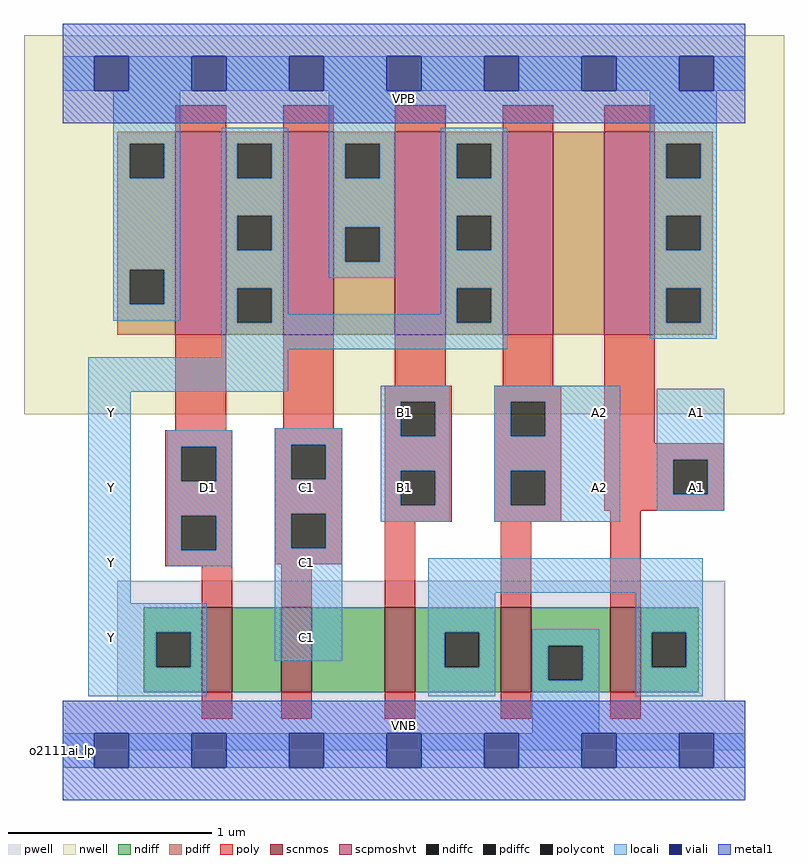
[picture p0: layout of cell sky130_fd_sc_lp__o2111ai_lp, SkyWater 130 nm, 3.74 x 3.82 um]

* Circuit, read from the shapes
.subckt sky130_fd_sc_lp__o2111ai_lp A1 A2 B1 C1 D1 VGND VNB VPB VPWR Y
XM1 n1 D1 Y VNB sky130_fd_pr__nfet_01v8 w=0.42 l=0.15
XM2 n2 C1 n1 VNB sky130_fd_pr__nfet_01v8 w=0.42 l=0.15
XM3 n3 B1 n2 VNB sky130_fd_pr__nfet_01v8 w=0.42 l=0.15
XM4 VGND A2 n3 VNB sky130_fd_pr__nfet_01v8 w=0.42 l=0.15
XM5 n3 A1 VGND VNB sky130_fd_pr__nfet_01v8 w=0.42 l=0.15
XM6 Y D1 VPWR VPB sky130_fd_pr__pfet_01v8_hvt w=1 l=0.25
XM7 VPWR C1 Y VPB sky130_fd_pr__pfet_01v8_hvt w=1 l=0.25
XM8 Y B1 VPWR VPB sky130_fd_pr__pfet_01v8_hvt w=1 l=0.25
XM9 n4 A2 Y VPB sky130_fd_pr__pfet_01v8_hvt w=1 l=0.25
XM10 VPWR A1 n4 VPB sky130_fd_pr__pfet_01v8_hvt w=1 l=0.25
.ends

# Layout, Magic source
magic
tech sky130A
magscale 1 2
<< nwell >>
rect -38 331 710 704
<< pwell >>
rect 54 49 652 167
rect 0 0 672 49
<< scnmos >>
rect 137 57 167 141
rect 215 57 245 141
rect 317 57 347 141
rect 431 57 461 141
rect 539 57 569 141
<< scpmoshvt >>
rect 111 409 161 609
rect 217 409 267 609
rect 327 409 377 609
rect 433 409 483 609
rect 533 409 583 609
<< ndiff >>
rect 80 116 137 141
rect 80 82 92 116
rect 126 82 137 116
rect 80 57 137 82
rect 167 57 215 141
rect 245 57 317 141
rect 347 116 431 141
rect 347 82 376 116
rect 410 82 431 116
rect 347 57 431 82
rect 461 103 539 141
rect 461 69 478 103
rect 512 69 539 103
rect 461 57 539 69
rect 569 116 626 141
rect 569 82 580 116
rect 614 82 626 116
rect 569 57 626 82
<< pdiff >>
rect 54 597 111 609
rect 54 563 66 597
rect 100 563 111 597
rect 54 473 111 563
rect 54 439 66 473
rect 100 439 111 473
rect 54 409 111 439
rect 161 597 217 609
rect 161 563 172 597
rect 206 563 217 597
rect 161 526 217 563
rect 161 492 172 526
rect 206 492 217 526
rect 161 455 217 492
rect 161 421 172 455
rect 206 421 217 455
rect 161 409 217 421
rect 267 597 327 609
rect 267 563 278 597
rect 312 563 327 597
rect 267 515 327 563
rect 267 481 278 515
rect 312 481 327 515
rect 267 409 327 481
rect 377 597 433 609
rect 377 563 388 597
rect 422 563 433 597
rect 377 526 433 563
rect 377 492 388 526
rect 422 492 433 526
rect 377 455 433 492
rect 377 421 388 455
rect 422 421 433 455
rect 377 409 433 421
rect 483 409 533 609
rect 583 597 640 609
rect 583 563 594 597
rect 628 563 640 597
rect 583 526 640 563
rect 583 492 594 526
rect 628 492 640 526
rect 583 455 640 492
rect 583 421 594 455
rect 628 421 640 455
rect 583 409 640 421
<< ndiffc >>
rect 92 82 126 116
rect 376 82 410 116
rect 478 69 512 103
rect 580 82 614 116
<< pdiffc >>
rect 66 563 100 597
rect 66 439 100 473
rect 172 563 206 597
rect 172 492 206 526
rect 172 421 206 455
rect 278 563 312 597
rect 278 481 312 515
rect 388 563 422 597
rect 388 492 422 526
rect 388 421 422 455
rect 594 563 628 597
rect 594 492 628 526
rect 594 421 628 455
<< poly >>
rect 111 609 161 635
rect 217 609 267 635
rect 327 609 377 635
rect 433 609 483 635
rect 533 609 583 635
rect 111 315 161 409
rect 217 317 267 409
rect 327 359 377 409
rect 433 359 483 409
rect 317 343 383 359
rect 101 299 167 315
rect 101 265 117 299
rect 151 265 167 299
rect 101 231 167 265
rect 101 197 117 231
rect 151 197 167 231
rect 101 181 167 197
rect 209 301 275 317
rect 209 267 225 301
rect 259 267 275 301
rect 209 233 275 267
rect 209 199 225 233
rect 259 199 275 233
rect 209 183 275 199
rect 317 309 333 343
rect 367 309 383 343
rect 317 275 383 309
rect 317 241 333 275
rect 367 241 383 275
rect 317 225 383 241
rect 425 343 491 359
rect 425 309 441 343
rect 475 309 491 343
rect 425 275 491 309
rect 425 241 441 275
rect 475 241 491 275
rect 425 225 491 241
rect 533 302 583 409
rect 533 286 651 302
rect 533 252 601 286
rect 635 252 651 286
rect 533 236 651 252
rect 137 141 167 181
rect 215 141 245 183
rect 317 141 347 225
rect 431 141 461 225
rect 539 141 569 236
rect 137 31 167 57
rect 215 31 245 57
rect 317 31 347 57
rect 431 31 461 57
rect 539 31 569 57
<< polycont >>
rect 117 265 151 299
rect 117 197 151 231
rect 225 267 259 301
rect 225 199 259 233
rect 333 309 367 343
rect 333 241 367 275
rect 441 309 475 343
rect 441 241 475 275
rect 601 252 635 286
<< locali >>
rect 0 649 31 683
rect 65 649 127 683
rect 161 649 223 683
rect 257 649 319 683
rect 353 649 415 683
rect 449 649 511 683
rect 545 649 607 683
rect 641 649 672 683
rect 50 597 116 649
rect 50 563 66 597
rect 100 563 116 597
rect 50 473 116 563
rect 50 439 66 473
rect 100 439 116 473
rect 50 423 116 439
rect 156 597 222 613
rect 156 563 172 597
rect 206 563 222 597
rect 156 526 222 563
rect 156 492 172 526
rect 206 492 222 526
rect 156 455 222 492
rect 262 597 328 649
rect 262 563 278 597
rect 312 563 328 597
rect 262 515 328 563
rect 262 481 278 515
rect 312 481 328 515
rect 262 465 328 481
rect 372 597 438 613
rect 372 563 388 597
rect 422 563 438 597
rect 372 526 438 563
rect 372 492 388 526
rect 422 492 438 526
rect 156 421 172 455
rect 206 429 222 455
rect 372 455 438 492
rect 372 429 388 455
rect 206 421 388 429
rect 422 421 438 455
rect 156 395 438 421
rect 578 597 644 649
rect 578 563 594 597
rect 628 563 644 597
rect 578 526 644 563
rect 578 492 594 526
rect 628 492 644 526
rect 578 455 644 492
rect 578 421 594 455
rect 628 421 644 455
rect 578 405 644 421
rect 156 387 222 395
rect 25 353 222 387
rect 25 145 67 353
rect 313 343 381 359
rect 103 299 167 315
rect 103 265 117 299
rect 151 265 167 299
rect 103 231 167 265
rect 103 197 117 231
rect 151 197 167 231
rect 103 181 167 197
rect 209 301 275 317
rect 209 267 225 301
rect 259 267 275 301
rect 209 233 275 267
rect 209 199 225 233
rect 259 199 275 233
rect 313 309 333 343
rect 367 309 381 343
rect 313 275 381 309
rect 313 241 333 275
rect 367 241 381 275
rect 313 225 381 241
rect 425 343 549 359
rect 425 309 441 343
rect 475 309 549 343
rect 425 275 549 309
rect 425 241 441 275
rect 475 241 549 275
rect 425 225 549 241
rect 585 286 651 356
rect 585 252 601 286
rect 635 252 651 286
rect 585 236 651 252
rect 25 116 142 145
rect 25 82 92 116
rect 126 82 142 116
rect 209 88 275 199
rect 360 155 630 189
rect 360 116 426 155
rect 25 53 142 82
rect 360 82 376 116
rect 410 82 426 116
rect 360 53 426 82
rect 462 103 528 119
rect 462 69 478 103
rect 512 69 528 103
rect 462 17 528 69
rect 564 116 630 155
rect 564 82 580 116
rect 614 82 630 116
rect 564 53 630 82
rect 0 -17 31 17
rect 65 -17 127 17
rect 161 -17 223 17
rect 257 -17 319 17
rect 353 -17 415 17
rect 449 -17 511 17
rect 545 -17 607 17
rect 641 -17 672 17
<< viali >>
rect 31 649 65 683
rect 127 649 161 683
rect 223 649 257 683
rect 319 649 353 683
rect 415 649 449 683
rect 511 649 545 683
rect 607 649 641 683
rect 31 -17 65 17
rect 127 -17 161 17
rect 223 -17 257 17
rect 319 -17 353 17
rect 415 -17 449 17
rect 511 -17 545 17
rect 607 -17 641 17
<< metal1 >>
rect 0 683 672 715
rect 0 649 31 683
rect 65 649 127 683
rect 161 649 223 683
rect 257 649 319 683
rect 353 649 415 683
rect 449 649 511 683
rect 545 649 607 683
rect 641 649 672 683
rect 0 617 672 649
rect 0 17 672 49
rect 0 -17 31 17
rect 65 -17 127 17
rect 161 -17 223 17
rect 257 -17 319 17
rect 353 -17 415 17
rect 449 -17 511 17
rect 545 -17 607 17
rect 641 -17 672 17
rect 0 -49 672 -17
<< labels >>
flabel pwell s 0 0 672 49 0 FreeSans 200 0 0 0 VNB
port 7 nsew ground bidirectional
flabel nwell s 0 617 672 666 0 FreeSans 200 0 0 0 VPB
port 8 nsew power bidirectional
rlabel comment s 0 0 0 0 4 o2111ai_lp
flabel metal1 s 0 617 672 666 0 FreeSans 340 0 0 0 VPWR
port 9 nsew power bidirectional
flabel metal1 s 0 0 672 49 0 FreeSans 340 0 0 0 VGND
port 6 nsew ground bidirectional
flabel locali s 223 94 257 128 0 FreeSans 340 0 0 0 C1
port 4 nsew signal input
flabel locali s 223 168 257 202 0 FreeSans 340 0 0 0 C1
port 4 nsew signal input
flabel locali s 223 242 257 276 0 FreeSans 340 0 0 0 C1
port 4 nsew signal input
flabel locali s 607 242 641 276 0 FreeSans 340 0 0 0 A1
port 1 nsew signal input
flabel locali s 607 316 641 350 0 FreeSans 340 0 0 0 A1
port 1 nsew signal input
flabel locali s 127 242 161 276 0 FreeSans 340 0 0 0 D1
port 5 nsew signal input
flabel locali s 511 242 545 276 0 FreeSans 340 0 0 0 A2
port 2 nsew signal input
flabel locali s 511 316 545 350 0 FreeSans 340 0 0 0 A2
port 2 nsew signal input
flabel locali s 319 242 353 276 0 FreeSans 340 0 0 0 B1
port 3 nsew signal input
flabel locali s 319 316 353 350 0 FreeSans 340 0 0 0 B1
port 3 nsew signal input
flabel locali s 31 94 65 128 0 FreeSans 340 0 0 0 Y
port 10 nsew signal output
flabel locali s 31 168 65 202 0 FreeSans 340 0 0 0 Y
port 10 nsew signal output
flabel locali s 31 242 65 276 0 FreeSans 340 0 0 0 Y
port 10 nsew signal output
flabel locali s 31 316 65 350 0 FreeSans 340 0 0 0 Y
port 10 nsew signal output
<< properties >>
string LEFsite unit
string LEFclass CORE
string FIXED_BBOX 0 0 672 666
string GDS_FILE $PDKPATH/libs.ref/sky130_fd_sc_lp/gds/sky130_fd_sc_lp.gds
string LEFsymmetry X Y R90
string GDS_END 4709982
string GDS_START 4702778
<< end >>
